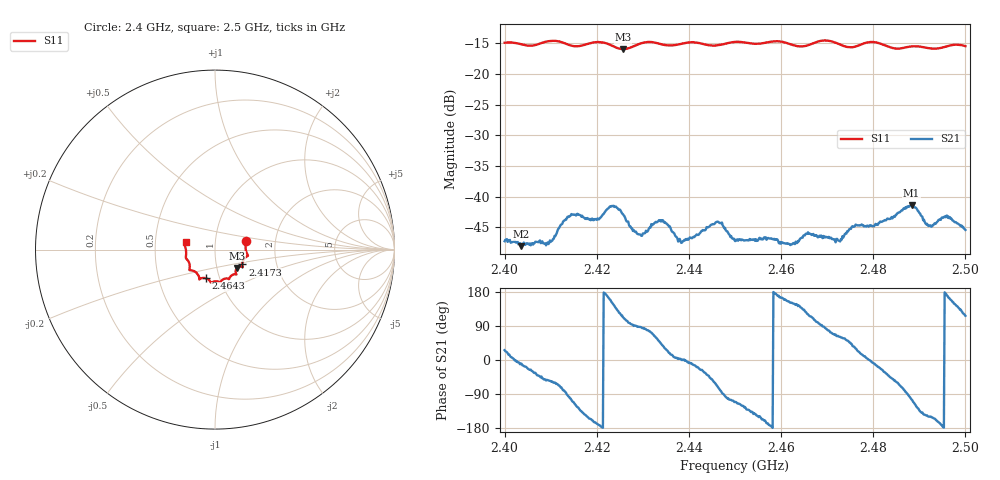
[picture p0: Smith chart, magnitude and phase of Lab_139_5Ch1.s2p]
# Hz S RI R 50
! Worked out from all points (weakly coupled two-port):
!   601 points, 2.4 GHz to 2.5 GHz, reference 50 ohm
!   highest |S21| = -41.39 dB at 2.4883 GHz (marker M1); lowest = -48.1 dB at 2.4035 GHz (marker M2)
!   lowest |S11| = -15.9 dB at 2.4257 GHz (marker M3), VSWR 1.38, Z = 62.5 - j13.1 ohm
!   |S11| at or under -10 dB: start of sweep to end of sweep
!   S12 and S22 are empty: the file has one direction only
!   S11 on the Smith chart (normalised r, x): 2.4 GHz: 1.41, +0.14; 2.4173 GHz: 1.34, -0.23; 2.4643 GHz: 0.86, -0.28; 2.5 GHz: 0.72, +0.06
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2.4e9  0.1734 0.0492  0.0039 0.00189  0 0  0 0
2.4035e9  0.1727 0.0299  0.0039 -0.000658  0 0  0 0
2.4095e9  0.1827 -0.031  0.00242 -0.00332  0 0  0 0
2.414e9  0.1661 -0.047  -0.000877 -0.00688  0 0  0 0
2.416667e9  0.1531 -0.0749  -0.00487 -0.00484  0 0  0 0
2.417333e9  0.1523 -0.0824  -0.0054 -0.00399  0 0  0 0
2.423333e9  0.1424 -0.0936  -0.00735 0.00408  0 0  0 0
2.425667e9  0.1227 -0.1021  -0.00281 0.00665  0 0  0 0
2.429333e9  0.1165 -0.1331  0.000219 0.00491  0 0  0 0
2.433333e9  0.1131 -0.1371  0.00388 0.00496  0 0  0 0
2.438167e9  0.082 -0.1556  0.00433 0.000236  0 0  0 0
2.446333e9  0.045 -0.166  0.00197 -0.00592  0 0  0 0
2.45e9  0.0294 -0.1807  -0.00155 -0.00406  0 0  0 0
2.464333e9  -0.05 -0.1602  -0.00342 0.00307  0 0  0 0
2.466667e9  -0.0756 -0.1593  -0.00189 0.00449  0 0  0 0
2.472333e9  -0.0885 -0.1535  0.00196 0.00395  0 0  0 0
2.475833e9  -0.1147 -0.1209  0.00466 0.0033  0 0  0 0
2.483333e9  -0.1408 -0.0897  0.00496 -0.00433  0 0  0 0
2.488333e9  -0.1607 -0.0491  -0.00211 -0.00825  0 0  0 0
2.492e9  -0.1606 -0.0255  -0.00496 -0.00295  0 0  0 0
2.495833e9  -0.1671 0.0175  -0.00693 0.000751  0 0  0 0
2.5e9  -0.1636 0.0421  -0.00241 0.00478  0 0  0 0
